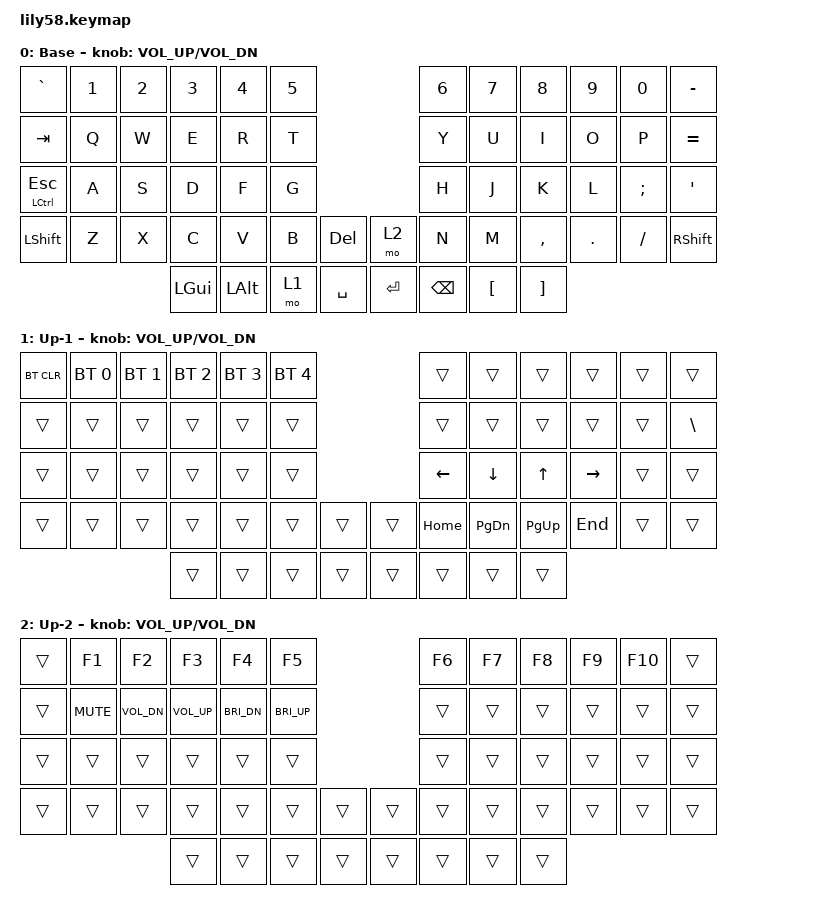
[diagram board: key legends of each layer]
/*
 * Copyright (c) 2020 The ZMK Contributors
 *
 * SPDX-License-Identifier: MIT
 */

#include <behaviors.dtsi>
#include <dt-bindings/zmk/bt.h>
#include <dt-bindings/zmk/keys.h>

/ {
    keymap {
        compatible = "zmk,keymap";

        default_layer {
            // CTL/ESC: hold Left Ctrl, tap Escape.
            // -----------------------------------------------------------------------------------------------------------------------------------------------
            // |    `    |    1    |    2    |    3    |    4    |    5    |                     |    6    |    7    |    8    |    9    |    0    |    -    |
            // |   TAB   |    Q    |    W    |    E    |    R    |    T    |                     |    Y    |    U    |    I    |    O    |    P    |    =    |
            // | CTL/ESC |    A    |    S    |    D    |    F    |    G    |                     |    H    |    J    |    K    |    L    |    ;    |    '    |
            // | LSHIFT  |    Z    |    X    |    C    |    V    |    B    |   DEL   | |  UP-2   |    N    |    M    |    ,    |    .    |    /    | RSHIFT  |
            //                               |  LGUI   |  LALT   |  UP-1   |  SPACE  | |  ENTER  |  BSPC   |    [    |    ]    |

            display-name = "Base";
            bindings = <
&kp GRAVE         &kp N1  &kp N2  &kp N3        &kp N4        &kp N5                               &kp N6         &kp N7            &kp N8             &kp N9   &kp N0    &kp MINUS
&kp TAB           &kp Q   &kp W   &kp E         &kp R         &kp T                                &kp Y          &kp U             &kp I              &kp O    &kp P     &kp EQUAL
&mt LCTRL ESCAPE  &kp A   &kp S   &kp D         &kp F         &kp G                                &kp H          &kp J             &kp K              &kp L    &kp SEMI  &kp SQT
&kp LSHFT         &kp Z   &kp X   &kp C         &kp V         &kp B   &kp DELETE    &mo 2          &kp N          &kp M             &kp COMMA          &kp DOT  &kp FSLH  &kp RSHFT
                                  &kp LEFT_GUI  &kp LEFT_ALT  &mo 1   &kp SPACE     &kp RET        &kp BACKSPACE  &kp LEFT_BRACKET  &kp RIGHT_BRACKET
            >;

            sensor-bindings = <&inc_dec_kp C_VOL_UP C_VOL_DN>;
        };

        up_1_layer {
            // . = transparent (uses the active lower layer).
            // BT 0-4 select Bluetooth profiles 0-4; BT CLR clears the selected profile.
            // -----------------------------------------------------------------------------------------------------------------------------------------------
            // | BT CLR  |  BT 0   |  BT 1   |  BT 2   |  BT 3   |  BT 4   |                     |    .    |    .    |    .    |    .    |    .    |    .    |
            // |    .    |    .    |    .    |    .    |    .    |    .    |                     |    .    |    .    |    .    |    .    |    .    |    \    |
            // |    .    |    .    |    .    |    .    |    .    |    .    |                     |  LEFT   |  DOWN   |   UP    |  RIGHT  |    .    |    .    |
            // |    .    |    .    |    .    |    .    |    .    |    .    |    .    | |    .    |  HOME   |  PG DN  |  PG UP  |   END   |    .    |    .    |
            //                               |    .    |    .    |    .    |    .    | |    .    |    .    |    .    |    .    |

            display-name = "Up-1";
            bindings = <
&bt BT_CLR  &bt BT_SEL 0  &bt BT_SEL 1  &bt BT_SEL 2  &bt BT_SEL 3  &bt BT_SEL 4                    &trans          &trans          &trans        &trans     &trans  &trans
&trans      &trans        &trans        &trans        &trans        &trans                          &trans          &trans          &trans        &trans     &trans  &kp BACKSLASH
&trans      &trans        &trans        &trans        &trans        &trans                          &kp LEFT_ARROW  &kp DOWN_ARROW  &kp UP_ARROW  &kp RIGHT  &trans  &trans
&trans      &trans        &trans        &trans        &trans        &trans        &trans    &trans  &kp HOME        &kp PAGE_DOWN   &kp PAGE_UP   &kp END    &trans  &trans
                                        &trans        &trans        &trans        &trans    &trans  &trans          &trans          &trans
            >;

            sensor-bindings = <&inc_dec_kp C_VOL_UP C_VOL_DN>;
        };

        up_2_layer {
            // . = transparent (uses the active lower layer).
            // -----------------------------------------------------------------------------------------------------------------------------------------------
            // |    .    |   F1    |   F2    |   F3    |   F4    |   F5    |                     |   F6    |   F7    |   F8    |   F9    |   F10   |    .    |
            // |    .    |  MUTE   | VOL DN  | VOL UP  | BRI DN  | BRI UP  |                     |    .    |    .    |    .    |    .    |    .    |    .    |
            // |    .    |    .    |    .    |    .    |    .    |    .    |                     |    .    |    .    |    .    |    .    |    .    |    .    |
            // |    .    |    .    |    .    |    .    |    .    |    .    |    .    | |    .    |    .    |    .    |    .    |    .    |    .    |    .    |
            //                               |    .    |    .    |    .    |    .    | |    .    |    .    |    .    |    .    |

            display-name = "Up-2";
            bindings = <
&trans      &kp F1      &kp F2      &kp F3      &kp F4      &kp F5                              &kp F6      &kp F7      &kp F8      &kp F9      &kp F10     &trans
&trans          &kp C_MUTE      &kp C_VOL_DN    &kp C_VOL_UP    &kp C_BRI_DN    &kp C_BRI_UP                            &trans          &trans          &trans          &trans          &trans          &trans
&trans      &trans      &trans      &trans      &trans      &trans                              &trans      &trans      &trans      &trans      &trans      &trans
&trans      &trans      &trans      &trans      &trans      &trans      &trans          &trans      &trans      &trans      &trans      &trans      &trans      &trans
                                    &trans      &trans      &trans      &trans          &trans      &trans      &trans      &trans
            >;

            sensor-bindings = <&inc_dec_kp C_VOL_UP C_VOL_DN>;
        };

        extra_1 { status = "reserved"; };

        extra_2 { status = "reserved"; };

        extra_3 { status = "reserved"; };
    };
};
